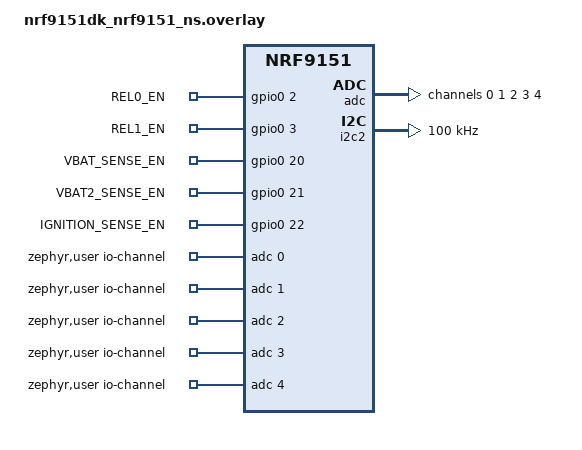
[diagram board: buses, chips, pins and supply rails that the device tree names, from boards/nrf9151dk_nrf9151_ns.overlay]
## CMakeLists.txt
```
#
# Copyright (c) 2023 Nordic Semiconductor ASA
#
# SPDX-License-Identifier: LicenseRef-Nordic-5-Clause
#

cmake_minimum_required(VERSION 3.20.0)

find_package(Zephyr REQUIRED HINTS $ENV{ZEPHYR_BASE})
project(mqtt)

target_sources(app PRIVATE src/main.c src/relays.c src/sense.c src/buttons.c src/gps.c src/battery_monitor.c src/relay_current.c)
target_include_directories(app PRIVATE src)

# Include files that are common for all modules
add_subdirectory(src/common)

# Include mandatory module source folders
add_subdirectory(src/modules/network)
add_subdirectory(src/modules/transport)
add_subdirectory(src/modules/error)
add_subdirectory(src/modules/fota)
add_subdirectory(src/modules/watchdog)

# app2-only modules (DK test peripherals)
add_subdirectory(src/modules/sen66)

# Optional modules
add_subdirectory_ifdef(CONFIG_MQTT_SAMPLE_LED src/modules/led)
```

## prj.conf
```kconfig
#
# Copyright (c) 2023 Nordic Semiconductor ASA
#
# SPDX-License-Identifier: LicenseRef-Nordic-5-Clause
#

# Common configurations for all boards

# General
CONFIG_HW_ID_LIBRARY=y
CONFIG_ASSERT=y
CONFIG_REBOOT=y

# ADC
CONFIG_ADC=y

# GPIO + input (buttons via gpio-keys)
CONFIG_GPIO=y
CONFIG_INPUT=y
CONFIG_INPUT_GPIO_KEYS=y

# Logging
CONFIG_LOG=y

# Networking
CONFIG_NETWORKING=y
CONFIG_NET_SOCKETS_OFFLOAD=y
CONFIG_NET_SOCKETS=y
CONFIG_POSIX_API=y
CONFIG_NET_IPV4=y
CONFIG_NET_TCP=y
CONFIG_NET_NATIVE=y
CONFIG_NET_CONNECTION_MANAGER=y
CONFIG_DNS_RESOLVER=y

# ZBus
CONFIG_ZBUS=y

# I2C (SEN66 air-quality sensor on the DK)
CONFIG_I2C=y

# Persistent storage (relay state across reboots).
# Enabling SETTINGS_NVS makes the partition manager carve a 16 KB
# settings_storage partition out of flash, shrinking both MCUboot slots.
CONFIG_SETTINGS=y
CONFIG_SETTINGS_NVS=y
CONFIG_NVS=y
CONFIG_PM_PARTITION_SIZE_SETTINGS_STORAGE=0x4000

# Zephyr state framework
CONFIG_SMF=y

# Hardware watchdog (reboots if MQTT unreachable for >30 min, or on a hang)
CONFIG_WATCHDOG=y

# MQTT (raw Zephyr MQTT client)
CONFIG_MQTT_LIB=y
CONFIG_MQTT_LIB_TLS=y
CONFIG_MQTT_KEEPALIVE=300
CONFIG_MQTT_CLEAN_SESSION=y

# TLS credentials
CONFIG_MODEM_KEY_MGMT=y
CONFIG_MQTT_SAMPLE_TRANSPORT_SEC_TAG=955

# Broker
CONFIG_MQTT_SAMPLE_TRANSPORT_BROKER_HOSTNAME="***REMOVED***.s1.eu.hivemq.cloud"
CONFIG_MQTT_SAMPLE_TRANSPORT_BROKER_PASSWORD="***REMOVED***"

# Timestamp (kept for log timestamps)
CONFIG_DATE_TIME=y
CONFIG_DATE_TIME_AUTO_UPDATE=y

# AT monitor heap for modem notifications (%XTIME etc.)
CONFIG_AT_MONITOR_HEAP_SIZE=512

# TF-M
CONFIG_TFM_PROFILE_TYPE_MINIMAL=y

# General
CONFIG_HW_STACK_PROTECTION=y
CONFIG_HW_ID_LIBRARY_SOURCE_IMEI=y
CONFIG_PICOLIBC=y
CONFIG_DK_LIBRARY=y

# FPU (required for GNSS distance math)
CONFIG_FPU=y

# Shell
CONFIG_SHELL=y
CONFIG_SHELL_BACKEND_SERIAL=y

# Modem trace
CONFIG_NRF_MODEM_LIB_TRACE=n


# LED
CONFIG_MQTT_SAMPLE_LED=n

# Disable Duplicate Address Detection (DAD)
# due to not being properly implemented for offloaded interfaces.
CONFIG_NET_IPV6_NBR_CACHE=n
CONFIG_NET_IPV6_MLD=n

# Zephyr NET Connection Manager and Connectivity layer.
CONFIG_NET_CONNECTION_MANAGER_MONITOR_STACK_SIZE=1024
CONFIG_NRF_MODEM_LIB_NET_IF=y

# Use NB-IoT instead of LTE-M
# CONFIG_LTE_MODE_PREFERENCE_NBIOT=y

# --- Memfault ---
CONFIG_MEMFAULT=y

# Only used for FOTA: disable the hourly metrics/coredump upload over HTTPS
CONFIG_MEMFAULT_HTTP_PERIODIC_UPLOAD=n
CONFIG_MEMFAULT_NCS_PROJECT_KEY="***REMOVED***"
CONFIG_MEMFAULT_NCS_DEVICE_ID_HW_ID=y

# Memfault's HTTP/OTA code uses malloc, so a heap is required.
CONFIG_HEAP_MEM_POOL_SIZE=8192

# Modem info library so Memfault can collect LTE metrics
CONFIG_MODEM_INFO=y

# Memfault FOTA over HTTP using the NCS downloader
CONFIG_MEMFAULT_FOTA=y
CONFIG_MEMFAULT_FOTA_CLI_CMD=y

# --- OTA / DFU (NCS >= 3.0 downloader API) ---
CONFIG_DFU_TARGET=y
CONFIG_DFU_TARGET_MCUBOOT=y
CONFIG_IMG_MANAGER=y
CONFIG_FLASH=y
CONFIG_FLASH_MAP=y
CONFIG_STREAM_FLASH=y
CONFIG_IMG_ERASE_PROGRESSIVELY=y

CONFIG_FOTA_DOWNLOAD=y
CONFIG_DOWNLOADER=y
CONFIG_DOWNLOADER_MAX_FILENAME_SIZE=400
CONFIG_DOWNLOADER_STACK_SIZE=1600
CONFIG_FOTA_DOWNLOAD_PROGRESS_EVT=y

# Runtime log level filtering (so we can `log enable dbg mflt` in shell)
CONFIG_LOG_RUNTIME_FILTERING=y

CONFIG_MEMFAULT_NCS_FW_VERSION_STATIC=y
CONFIG_MEMFAULT_NCS_FW_VERSION="1.2.4"
```

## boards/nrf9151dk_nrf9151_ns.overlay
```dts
/*
 * Overlay for the Nordic nRF9151 DK (app2).
 *
 * Adds the AnchorLink test hardware plus the air-quality sensor wired to the DK:
 *   - i2c2: SDA = P0.06, SCL = P0.07 (SERIAL1 is reserved by TF-M, so i2c2 is used)
 *   - Sensirion SEN66 air-quality sensor @ 0x6B (accessed via raw I2C)
 *
 * The relay/sense/ADC pins are arbitrary placeholders (nothing wired).
 */

#include <zephyr/dt-bindings/adc/adc.h>
#include <zephyr/dt-bindings/adc/nrf-adc.h>
#include <zephyr/dt-bindings/pinctrl/nrf-pinctrl.h>
#include <zephyr/dt-bindings/i2c/i2c.h>

/ {
	relays {
		compatible = "gpio-leds";
		relay0: relay_0 {
			gpios = <&gpio0 2 GPIO_ACTIVE_HIGH>;
			label = "REL0_EN";
		};
		relay1: relay_1 {
			gpios = <&gpio0 3 GPIO_ACTIVE_HIGH>;
			label = "REL1_EN";
		};
	};

	sense_enables {
		compatible = "gpio-leds";
		vbat_en: vbat_en {
			gpios = <&gpio0 20 GPIO_ACTIVE_HIGH>;
			label = "VBAT_SENSE_EN";
		};
		vbat2_en: vbat2_en {
			gpios = <&gpio0 21 GPIO_ACTIVE_HIGH>;
			label = "VBAT2_SENSE_EN";
		};
		ignition_en: ignition_en {
			gpios = <&gpio0 22 GPIO_ACTIVE_HIGH>;
			label = "IGNITION_SENSE_EN";
		};
	};

	zephyr,user {
		/* ADC channels: 0=REL0_SENSE, 1=REL1_SENSE, 2=VBAT_SENSE, 3=VBAT2_SENSE, 4=IGNITION_SENSE */
		io-channels = <&adc 0>, <&adc 1>, <&adc 2>, <&adc 3>, <&adc 4>;
	};

	aliases {
		relay0 = &relay0;
		relay1 = &relay1;
	};
};

&adc {
	status = "okay";
	#address-cells = <1>;
	#size-cells = <0>;

	channel@0 {
		reg = <0>;
		zephyr,gain = "ADC_GAIN_1_6";
		zephyr,reference = "ADC_REF_INTERNAL";
		zephyr,acquisition-time = <ADC_ACQ_TIME_DEFAULT>;
		zephyr,input-positive = <NRF_SAADC_AIN1>;
		zephyr,resolution = <12>;
		zephyr,oversampling = <8>;
	};

	channel@1 {
		reg = <1>;
		zephyr,gain = "ADC_GAIN_1_6";
		zephyr,reference = "ADC_REF_INTERNAL";
		zephyr,acquisition-time = <ADC_ACQ_TIME_DEFAULT>;
		zephyr,input-positive = <NRF_SAADC_AIN2>;
		zephyr,resolution = <12>;
		zephyr,oversampling = <8>;
	};

	channel@2 {
		reg = <2>;
		zephyr,gain = "ADC_GAIN_1_6";
		zephyr,reference = "ADC_REF_INTERNAL";
		zephyr,acquisition-time = <ADC_ACQ_TIME_DEFAULT>;
		zephyr,input-positive = <NRF_SAADC_AIN3>;
		zephyr,resolution = <12>;
		zephyr,oversampling = <8>;
	};

	channel@3 {
		reg = <3>;
		zephyr,gain = "ADC_GAIN_1_6";
		zephyr,reference = "ADC_REF_INTERNAL";
		zephyr,acquisition-time = <ADC_ACQ_TIME_DEFAULT>;
		zephyr,input-positive = <NRF_SAADC_AIN4>;
		zephyr,resolution = <12>;
		zephyr,oversampling = <8>;
	};

	channel@4 {
		reg = <4>;
		zephyr,gain = "ADC_GAIN_1_6";
		zephyr,reference = "ADC_REF_INTERNAL";
		zephyr,acquisition-time = <ADC_ACQ_TIME_DEFAULT>;
		zephyr,input-positive = <NRF_SAADC_AIN5>;
		zephyr,resolution = <12>;
		zephyr,oversampling = <8>;
	};
};

/*
 * Use i2c2 (SERIAL2) for the SEN66. SERIAL1 is reserved by TF-M as its secure
 * log UART, so it must not be touched from the non-secure app. i2c2 is already
 * the non-secure arduino_i2c; re-pin it from the arduino header to the wired
 * pins (SDA=P0.06, SCL=P0.07).
 */
&i2c2_default {
	group1 {
		psels = <NRF_PSEL(TWIM_SCL, 0, 7)>,
			<NRF_PSEL(TWIM_SDA, 0, 6)>;
	};
};

&i2c2_sleep {
	group1 {
		psels = <NRF_PSEL(TWIM_SCL, 0, 7)>,
			<NRF_PSEL(TWIM_SDA, 0, 6)>;
		low-power-enable;
	};
};

&i2c2 {
	clock-frequency = <I2C_BITRATE_STANDARD>;

	/* SEN66 lives on this bus at 0x6B and is accessed with raw I2C from the
	 * sen66 shell command (no Zephyr binding exists for it). */
};
```

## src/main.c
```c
#include <zephyr/kernel.h>
#include <zephyr/logging/log.h>
#include <zephyr/zbus/zbus.h>

#include "message_channel.h"
#include "relays.h"
#include "sense.h"
#include "buttons.h"
#include "battery_monitor.h"
#include "relay_current.h"

LOG_MODULE_REGISTER(main, LOG_LEVEL_INF);

ZBUS_SUBSCRIBER_DEFINE(main_sub, 4);

static void publish_relay_state(uint8_t idx)
{
	struct publish_event ev = {
		.type = PUB_RELAY_STATE,
		.relay = idx,
		.state = relay_get(idx),
	};
	zbus_chan_pub(&PUBLISH_CHAN, &ev, K_SECONDS(1));
}

static void handle_toggle(uint8_t idx)
{
	if (idx >= NUM_RELAYS) {
		return;
	}
	relay_toggle(idx);
	LOG_INF("Relay %d -> %s", idx, relay_get(idx) ? "ON" : "OFF");
	publish_relay_state(idx);
}

static void handle_report_bat(void)
{
	battery_monitor_force_report();
}

static void on_button_pressed(uint8_t idx)
{
	switch (idx) {
	case 0:
		LOG_INF("BTN0 pressed");
		break;
	case 1:
		LOG_INF("BTN1 pressed");
		handle_toggle(0);
		break;
	case 2:
		LOG_INF("BTN2 pressed");
		handle_toggle(1);
		break;
	}
}

static void on_button_long_pressed(uint8_t idx)
{
	if (idx != 0) {
		return;
	}
	LOG_INF("BTN0 long press -> pair");
	struct publish_event ev = { .type = PUB_PAIR };
	zbus_chan_pub(&PUBLISH_CHAN, &ev, K_SECONDS(1));
}

int main(void)
{
	const struct zbus_channel *chan;

	LOG_INF("Boat Monitor starting");

	relays_init();
	sense_init();
	buttons_init(on_button_pressed, on_button_long_pressed);
	relay_current_init();

	while (!zbus_sub_wait(&main_sub, &chan, K_FOREVER)) {
		if (chan != &CMD_CHAN) {
			continue;
		}

		struct command cmd;
		if (zbus_chan_read(&CMD_CHAN, &cmd, K_SECONDS(1))) {
			continue;
		}

		switch (cmd.action) {
		case CMD_TOGGLE_RELAY:
			handle_toggle(cmd.relay);
			break;
		case CMD_REPORT_BAT:
			handle_report_bat();
			break;
		case CMD_REBOOT:
			LOG_INF("Reboot requested via MQTT");
			k_sleep(K_SECONDS(2));
			sys_reboot(SYS_REBOOT_COLD);
			break;
		default:
			/* Other commands handled by other subscribers (gps). */
			break;
		}
	}

	return 0;
}
```

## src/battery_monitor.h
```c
#ifndef BATTERY_MONITOR_H_
#define BATTERY_MONITOR_H_

/* Read both batteries and publish a PUB_BAT_REPORT now. */
void battery_monitor_force_report(void);

#endif /* BATTERY_MONITOR_H_ */
```

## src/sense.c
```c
#include <zephyr/kernel.h>
#include <zephyr/drivers/adc.h>
#include <zephyr/drivers/gpio.h>
#include <zephyr/logging/log.h>

#include "sense.h"
#include "relays.h"

LOG_MODULE_REGISTER(sense, LOG_LEVEL_INF);

#define ZEPHYR_USER DT_PATH(zephyr_user)

/* Channel order matches enum sense_channel:
 * 0=REL0_SENSE, 1=REL1_SENSE, 2=VBAT_SENSE, 3=VBAT2_SENSE, 4=IGNITION_SENSE
 */
static const struct adc_dt_spec adc_channels[SENSE_COUNT] = {
	ADC_DT_SPEC_GET_BY_IDX(ZEPHYR_USER, 0),
	ADC_DT_SPEC_GET_BY_IDX(ZEPHYR_USER, 1),
	ADC_DT_SPEC_GET_BY_IDX(ZEPHYR_USER, 2),
	ADC_DT_SPEC_GET_BY_IDX(ZEPHYR_USER, 3),
	ADC_DT_SPEC_GET_BY_IDX(ZEPHYR_USER, 4),
};

/* Dedicated EN pins for VBAT, VBAT2, IGNITION sensing.
 * REL0_SENSE/REL1_SENSE share their EN with the relay drive (relay_set). */
static const struct gpio_dt_spec vbat_en = GPIO_DT_SPEC_GET(DT_NODELABEL(vbat_en), gpios);
static const struct gpio_dt_spec vbat2_en = GPIO_DT_SPEC_GET(DT_NODELABEL(vbat2_en), gpios);
static const struct gpio_dt_spec ignition_en = GPIO_DT_SPEC_GET(DT_NODELABEL(ignition_en), gpios);

static int16_t sample_buf;
static struct adc_sequence sequence = {
	.buffer = &sample_buf,
	.buffer_size = sizeof(sample_buf),
};

/* Serialises ADC + EN-pin access across threads. */
static K_MUTEX_DEFINE(sense_lock);

int sense_init(void)
{
	const struct gpio_dt_spec *en_pins[] = { &vbat_en, &vbat2_en, &ignition_en };

	for (int i = 0; i < SENSE_COUNT; i++) {
		if (!adc_is_ready_dt(&adc_channels[i])) {
			LOG_ERR("ADC channel %d not ready", i);
			return -ENODEV;
		}
		int err = adc_channel_setup_dt(&adc_channels[i]);
		if (err) {
			LOG_ERR("ADC channel %d setup failed: %d", i, err);
			return err;
		}
	}

	for (int i = 0; i < ARRAY_SIZE(en_pins); i++) {
		if (!gpio_is_ready_dt(en_pins[i])) {
			LOG_ERR("Sense EN pin %d not ready", i);
			return -ENODEV;
		}
		int err = gpio_pin_configure_dt(en_pins[i], GPIO_OUTPUT_INACTIVE);
		if (err) {
			return err;
		}
	}

	LOG_INF("Sense initialized");
	return 0;
}

/* Returns the EN pin for a channel, or NULL if EN is shared with a relay. */
static const struct gpio_dt_spec *en_for(enum sense_channel ch)
{
	switch (ch) {
	case SENSE_VBAT:     return &vbat_en;
	case SENSE_VBAT2:    return &vbat2_en;
	case SENSE_IGNITION: return &ignition_en;
	default:             return NULL;
	}
}

int sense_read_mv(enum sense_channel ch, int32_t *millivolts)
{
	if (ch >= SENSE_COUNT || !millivolts) {
		return -EINVAL;
	}

	k_mutex_lock(&sense_lock, K_FOREVER);

	const struct gpio_dt_spec *en = en_for(ch);
	bool toggled_en = false;

	if (en) {
		gpio_pin_set_dt(en, 1);
		toggled_en = true;
		k_msleep(2);
	}
	/* For REL0_SENSE / REL1_SENSE the EN is the relay drive itself —
	 * we measure whatever the current relay state implies. */

	int err = adc_sequence_init_dt(&adc_channels[ch], &sequence);
	if (!err) {
		err = adc_read_dt(&adc_channels[ch], &sequence);
	}

	if (toggled_en) {
		gpio_pin_set_dt(en, 0);
	}

	if (err) {
		k_mutex_unlock(&sense_lock);
		return err;
	}

	int32_t mv = (int32_t)sample_buf;
	if (adc_raw_to_millivolts_dt(&adc_channels[ch], &mv) != 0) {
		mv = (int32_t)sample_buf;
	}
	*millivolts = mv;
	k_mutex_unlock(&sense_lock);
	return 0;
}

/* Hardware divider ratio V_actual / V_pin for each channel.
 *   VBAT/VBAT2: R1=100k, R2=20k -> (100+20)/20 = 6
 *   REL0/REL1:  R1=10k,  R2=2.5k -> (10+2.5)/2.5 = 5
 *   IGNITION:   no divider assumed                                    */
static float divider_scale(enum sense_channel ch)
{
	switch (ch) {
	case SENSE_VBAT:
	case SENSE_VBAT2:
		return 6.0f;
	case SENSE_REL0:
	case SENSE_REL1:
		return 5.0f;
	default:
		return 1.0f;
	}
}

int sense_read_v(enum sense_channel ch, float *volts)
{
	int32_t mv = 0;
	int err = sense_read_mv(ch, &mv);
	if (err) {
		return err;
	}
	*volts = (mv / 1000.0f) * divider_scale(ch);
	return 0;
}
```

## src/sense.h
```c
#ifndef _SENSE_H_
#define _SENSE_H_

#include <stdint.h>
#include <stdbool.h>

enum sense_channel {
	SENSE_REL0 = 0,
	SENSE_REL1,
	SENSE_VBAT,
	SENSE_VBAT2,
	SENSE_IGNITION,
	SENSE_COUNT,
};

int sense_init(void);

/* Read a sense channel. Asserts the corresponding EN pin (if separate),
 * waits for settling, samples ADC, and returns millivolts at the pin. */
int sense_read_mv(enum sense_channel ch, int32_t *millivolts);

/* Convenience: returns voltage in volts. */
int sense_read_v(enum sense_channel ch, float *volts);

#endif /* _SENSE_H_ */
```
